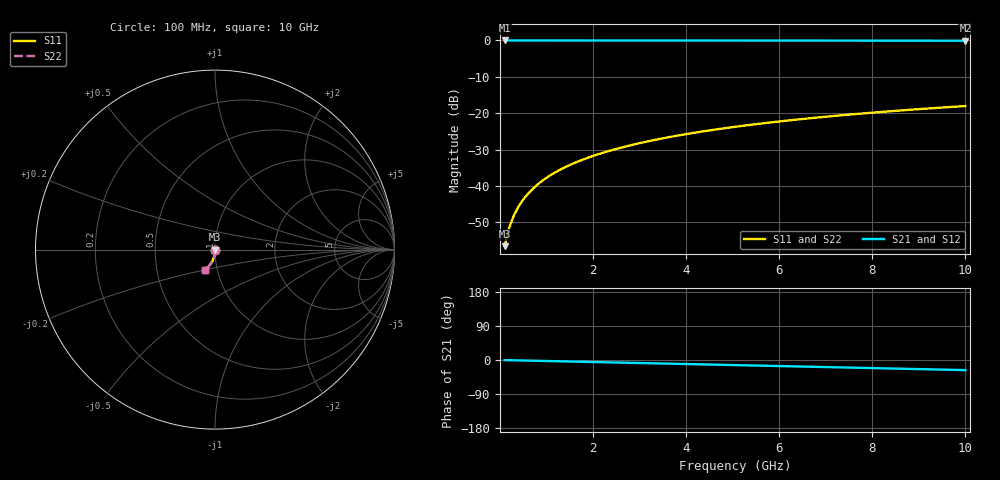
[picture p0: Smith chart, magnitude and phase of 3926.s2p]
# Hz S RI R 50.00
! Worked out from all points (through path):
!   100 points, 100 MHz to 10 GHz, reference 50 ohm
!   highest |S21| = -0.01 dB at 100 MHz (marker M1); lowest = -0.1 dB at 10 GHz (marker M2)
!   group delay of S21, straight-line fit = 7.42 ps
!   lowest |S11| = -56.6 dB at 100 MHz (marker M3), VSWR 1.00, Z = 50.1 - j0.129 ohm
!   |S11| at or under -10 dB: start of sweep to end of sweep
!   |S22| runs from -56.6 to -18.0 dB; largest |S21 - S12| = 0
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1e8  0.000726 -0.00129  0.9992 -0.00462  0.9992 -0.00462  0.000726 -0.00129
2e8  0.000711 -0.00258  0.9992 -0.00925  0.9992 -0.00925  0.000711 -0.00258
3e8  0.000682 -0.00388  0.9991 -0.0139  0.9991 -0.0139  0.000682 -0.00388
4e8  0.00064 -0.00517  0.9991 -0.0185  0.9991 -0.0185  0.00064 -0.00517
5e8  0.000586 -0.00646  0.9989 -0.0231  0.9989 -0.0231  0.000586 -0.00646
6e8  0.00052 -0.00775  0.9988 -0.0277  0.9988 -0.0277  0.00052 -0.00775
7e8  0.000441 -0.00904  0.9987 -0.0324  0.9987 -0.0324  0.000441 -0.00904
8e8  0.000351 -0.0103  0.9985 -0.037  0.9985 -0.037  0.000351 -0.0103
9e8  0.000248 -0.0116  0.9983 -0.0416  0.9983 -0.0416  0.000248 -0.0116
1.1e9  6.99e-06 -0.0142  0.9978 -0.0509  0.9978 -0.0509  6.99e-06 -0.0142
1.4e9  -0.000445 -0.0181  0.9969 -0.0647  0.9969 -0.0647  -0.000445 -0.0181
1.8e9  -0.00122 -0.0232  0.9954 -0.0832  0.9954 -0.0832  -0.00122 -0.0232
2.1e9  -0.00192 -0.027  0.9941 -0.097  0.9941 -0.097  -0.00192 -0.027
2.5e9  -0.00302 -0.0321  0.9919 -0.1154  0.9919 -0.1154  -0.00302 -0.0321
2.9e9  -0.00431 -0.0371  0.9894 -0.1338  0.9894 -0.1338  -0.00431 -0.0371
3.4e9  -0.00619 -0.0434  0.9858 -0.1567  0.9858 -0.1567  -0.00619 -0.0434
4.2e9  -0.0098 -0.0532  0.9787 -0.1932  0.9787 -0.1932  -0.0098 -0.0532
5.1e9  -0.0147 -0.0638  0.9691 -0.2339  0.9691 -0.2339  -0.0147 -0.0638
5.9e9  -0.0198 -0.073  0.959 -0.2697  0.959 -0.2697  -0.0198 -0.073
6.7e9  -0.0256 -0.0817  0.9474 -0.305  0.9474 -0.305  -0.0256 -0.0817
8.4e9  -0.04 -0.0986  0.9183 -0.3785  0.9183 -0.3785  -0.04 -0.0986
1e10  -0.0558 -0.1122  0.8854 -0.4451  0.8854 -0.4451  -0.0558 -0.1122
